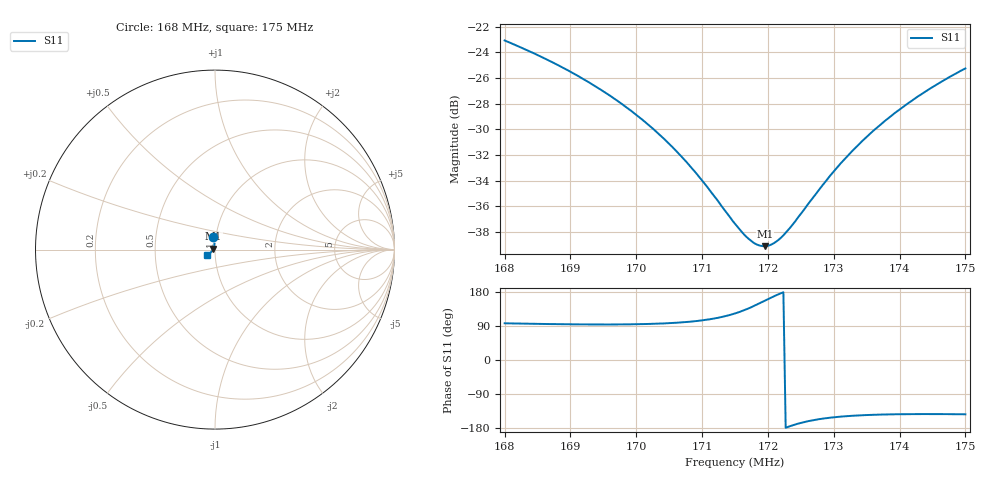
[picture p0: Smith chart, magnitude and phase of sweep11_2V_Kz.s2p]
!Agilent Technologies,E8364B,US42250162,A.07.50.67
!Agilent E8364B: A.07.50.67
!Date: Friday, June 23, 2023 16:30:16
!Correction: S11(Off)
!S21(Off)
!S12(Off)
!S22(Off)
!S2P File: Measurements: S11, S21, S12, S22:
# Hz S  RI  R 50
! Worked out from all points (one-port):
!   201 points, 168 MHz to 175 MHz, reference 50 ohm
!   lowest |S11| = -39.1 dB at 171.96 MHz (marker M1), VSWR 1.02, Z = 49 + j0.429 ohm
!   |S11| at or under -10 dB: start of sweep to end of sweep
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1.68e8  -0.00838 0.0697  7.07e-11 7.07e-11  7.07e-11 7.07e-11  7.07e-11 7.07e-11
1.6863e8  -0.00515 0.0592  7.07e-11 7.07e-11  7.07e-11 7.07e-11  7.07e-11 7.07e-11
1.6919e8  -0.0034 0.0496  7.07e-11 7.07e-11  7.07e-11 7.07e-11  7.07e-11 7.07e-11
1.69785e8  -0.00272 0.0396  7.07e-11 7.07e-11  7.07e-11 7.07e-11  7.07e-11 7.07e-11
1.70345e8  -0.00317 0.0301  7.07e-11 7.07e-11  7.07e-11 7.07e-11  7.07e-11 7.07e-11
1.7059e8  -0.0037 0.0261  7.07e-11 7.07e-11  7.07e-11 7.07e-11  7.07e-11 7.07e-11
1.70905e8  -0.00466 0.0209  7.07e-11 7.07e-11  7.07e-11 7.07e-11  7.07e-11 7.07e-11
1.715e8  -0.00736 0.0114  7.07e-11 7.07e-11  7.07e-11 7.07e-11  7.07e-11 7.07e-11
1.7164e8  -0.00817 0.00919  7.07e-11 7.07e-11  7.07e-11 7.07e-11  7.07e-11 7.07e-11
1.7178e8  -0.00903 0.00704  7.07e-11 7.07e-11  7.07e-11 7.07e-11  7.07e-11 7.07e-11
1.71885e8  -0.00969 0.00548  7.07e-11 7.07e-11  7.07e-11 7.07e-11  7.07e-11 7.07e-11
1.71955e8  -0.0102 0.00438  7.07e-11 7.07e-11  7.07e-11 7.07e-11  7.07e-11 7.07e-11
1.72095e8  -0.0112 0.00231  7.07e-11 7.07e-11  7.07e-11 7.07e-11  7.07e-11 7.07e-11
1.72235e8  -0.0122 0.000259  7.07e-11 7.07e-11  7.07e-11 7.07e-11  7.07e-11 7.07e-11
1.72375e8  -0.0133 -0.00177  7.07e-11 7.07e-11  7.07e-11 7.07e-11  7.07e-11 7.07e-11
1.7269e8  -0.016 -0.00622  7.07e-11 7.07e-11  7.07e-11 7.07e-11  7.07e-11 7.07e-11
1.72935e8  -0.0184 -0.00961  7.07e-11 7.07e-11  7.07e-11 7.07e-11  7.07e-11 7.07e-11
1.7325e8  -0.0216 -0.0137  7.07e-11 7.07e-11  7.07e-11 7.07e-11  7.07e-11 7.07e-11
1.736e8  -0.0254 -0.0181  7.07e-11 7.07e-11  7.07e-11 7.07e-11  7.07e-11 7.07e-11
1.73845e8  -0.0283 -0.0209  7.07e-11 7.07e-11  7.07e-11 7.07e-11  7.07e-11 7.07e-11
1.74405e8  -0.0355 -0.0271  7.07e-11 7.07e-11  7.07e-11 7.07e-11  7.07e-11 7.07e-11
1.75e8  -0.0438 -0.0326  7.07e-11 7.07e-11  7.07e-11 7.07e-11  7.07e-11 7.07e-11
